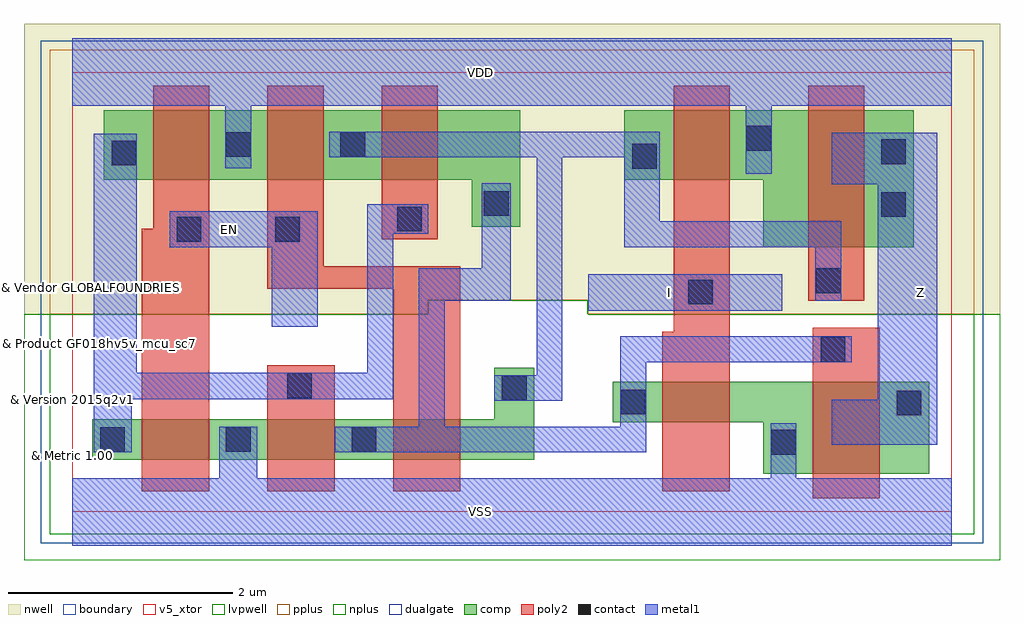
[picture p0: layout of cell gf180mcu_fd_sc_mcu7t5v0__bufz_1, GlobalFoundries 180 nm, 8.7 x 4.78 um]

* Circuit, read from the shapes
.subckt gf180mcu_fd_sc_mcu7t5v0__bufz_1 EN I VDD VSS Z
XM1 VSS EN n1 VSUBS nfet_05v0 w=0.36u l=0.6u
XM2 n2 n1 VSS VSUBS nfet_05v0 w=0.36u l=0.6u
XM3 n3 EN n2 VSUBS nfet_05v0 w=0.36u l=0.6u
XM4 VSS I n2 VSUBS nfet_05v0 w=0.36u l=0.6u
XM5 Z n2 VSS VSUBS nfet_05v0 w=0.82u l=0.6u
XM6 VDD EN n1 n4 pfet_05v0 w=0.62u l=0.5u
XM7 n3 EN VDD n4 pfet_05v0 w=0.62u l=0.5u
XM8 n2 n1 n3 n4 pfet_05v0 w=0.62u l=0.5u
XM9 VDD I n3 n4 pfet_05v0 w=0.62u l=0.5u
XM10 Z n3 VDD n4 pfet_05v0 w=1.22u l=0.5u
.ends

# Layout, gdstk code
import gdstk
lib = gdstk.Library(unit=1e-6, precision=1e-09)
def R(c, l, rs):  # rectangles x0, y0, x1, y1
    for r in rs: c.add(gdstk.rectangle(r[:2], r[2:], *l))
def A(c, l, x, y, w, h, nx, ny, dx, dy):  # array of equal rectangles
    R(c, l, [(x+i*dx, y+j*dy, x+i*dx+w, y+j*dy+h) for i in range(nx) for j in range(ny)])
def P(c, l, *ps):  # polygons
    for p in ps: c.add(gdstk.Polygon(p, *l))
boundary = (0, 0)
nwell = (21, 0)
comp = (22, 0)
poly2 = (30, 0)
pplus = (31, 0)
nplus = (32, 0)
contact = (33, 0)
metal1 = (34, 0)
dualgate = (55, 0)
v5_xtor = (112, 1)
lvpwell = (204, 0)

gf180mcu_fd_sc_mcu7t5v0_ = lib.new_cell('gf180mcu_fd_sc_mcu7t5v0__bufz_1')
R(gf180mcu_fd_sc_mcu7t5v0_, boundary, [(0,0,7.84,3.92)])
P(gf180mcu_fd_sc_mcu7t5v0_, nwell, [(-0.43,1.76),(-0.43,4.35),(8.27,4.35),(8.27,1.76),(4.595,1.76),(4.595,1.885),(3.175,1.885),(3.175,1.76)])
P(gf180mcu_fd_sc_mcu7t5v0_, comp, [(3.56,2.54),(3.56,2.96),(0.28,2.96),(0.28,3.58),(3.995,3.58),(3.995,2.54)],
  [(0.18,0.465),(0.18,0.825),(3.76,0.825),(3.76,1.285),(4.12,1.285),(4.12,0.465)],
  [(6.16,2.36),(6.16,2.96),(4.92,2.96),(4.92,3.58),(7.5,3.58),(7.5,2.36)],
  [(6.16,0.34),(6.16,0.8),(4.82,0.8),(4.82,1.16),(7.64,1.16),(7.64,0.34)])
R(gf180mcu_fd_sc_mcu7t5v0_, poly2, [(6.6,0.12,7.2,1.64), (1.74,0.185,2.34,1.305), (6.56,1.88,7.06,3.8), (2.76,2.43,3.26,3.8)])
P(gf180mcu_fd_sc_mcu7t5v0_, poly2, [(0.62,0.185),(0.62,2.525),(0.72,2.525),(0.72,3.8),(1.22,3.8),(1.22,0.185)],
  [(2.86,0.185),(2.86,1.99),(1.74,1.99),(1.74,3.8),(2.24,3.8),(2.24,2.19),(3.46,2.19),(3.46,0.185)],
  [(5.26,0.185),(5.26,1.605),(5.36,1.605),(5.36,3.8),(5.86,3.8),(5.86,0.185)])
P(gf180mcu_fd_sc_mcu7t5v0_, pplus, [(-0.2,1.76),(-0.2,4.12),(8.04,4.12),(8.04,1.76),(4.595,1.76),(4.595,1.885),(3.175,1.885),(3.175,1.76)])
P(gf180mcu_fd_sc_mcu7t5v0_, nplus, [(-0.2,-0.2),(-0.2,1.76),(3.175,1.76),(3.175,1.885),(4.595,1.885),(4.595,1.76),(8.04,1.76),(8.04,-0.2)])
A(gf180mcu_fd_sc_mcu7t5v0_, contact, 0.25, 0.535, 0.22, 0.22, 3, 1, 1.12, 0)
R(gf180mcu_fd_sc_mcu7t5v0_, contact, [(6.23,0.51,6.45,0.73), (7.35,0.86,7.57,1.08), (4.89,0.87,5.11,1.09), (3.83,0.995,4.05,1.215), (1.915,1.015,2.135,1.235), (6.67,1.34,6.89,1.56), (5.49,1.85,5.71,2.07), (6.63,1.95,6.85,2.17), (0.93,2.41,1.15,2.63), (1.81,2.41,2.03,2.63), (2.895,2.5,3.115,2.72), (7.21,2.63,7.43,2.85), (3.67,2.64,3.89,2.86), (4.99,3.06,5.21,3.28), (0.35,3.09,0.57,3.31), (7.21,3.1,7.43,3.32), (1.37,3.165,1.59,3.385), (2.39,3.165,2.61,3.385), (6.01,3.22,6.23,3.44)])
R(gf180mcu_fd_sc_mcu7t5v0_, metal1, [(4.6,1.795,6.33,2.12)])
P(gf180mcu_fd_sc_mcu7t5v0_, metal1, [(1.78,1.65),(1.78,2.36),(0.87,2.36),(0.87,2.68),(2.19,2.68),(2.19,1.65)],
  [(0.19,0.53),(0.19,3.37),(0.575,3.37),(0.575,1.24),(2.63,1.24),(2.63,2.74),(3.175,2.74),(3.175,2.48),(2.86,2.48),(2.86,1.005),(0.53,1.005),(0.53,0.53)],
  [(3.76,0.99),(3.76,1.22),(4.14,1.22),(4.14,3.16),(2.29,3.16),(2.29,3.39),(5.235,3.39),(5.235,2.59),(6.855,2.59),(6.855,1.88),(6.625,1.88),(6.625,2.36),(4.92,2.36),(4.92,3.16),(4.37,3.16),(4.37,0.99)],
  [(2.34,0.53),(2.34,0.76),(3.09,0.76),(3.09,2.17),(3.65,2.17),(3.65,2.93),(3.91,2.93),(3.91,1.88),(3.32,1.88),(3.32,0.76),(4.885,0.76),(4.885,1.565),(6.95,1.565),(6.95,1.335),(5.115,1.335),(5.115,0.53)],
  [(6.77,0.6),(6.77,1),(7.18,1),(7.18,2.92),(6.77,2.92),(6.77,3.38),(7.71,3.38),(7.71,0.6)],
  [(0,-0.3),(0,0.3),(1.31,0.3),(1.31,0.76),(1.65,0.76),(1.65,0.3),(6.225,0.3),(6.225,0.79),(6.455,0.79),(6.455,0.3),(7.84,0.3),(7.84,-0.3)],
  [(6.005,3.015),(6.005,3.62),(1.595,3.62),(1.595,3.065),(1.365,3.065),(1.365,3.62),(0,3.62),(0,4.22),(7.84,4.22),(7.84,3.62),(6.235,3.62),(6.235,3.015)])
R(gf180mcu_fd_sc_mcu7t5v0_, dualgate, [(-0.28,-0.28,8.12,4.2)])
R(gf180mcu_fd_sc_mcu7t5v0_, v5_xtor, [(0,0,7.84,3.92)])
P(gf180mcu_fd_sc_mcu7t5v0_, lvpwell, [(-0.43,-0.43),(-0.43,1.76),(3.175,1.76),(3.175,1.885),(4.595,1.885),(4.595,1.76),(8.27,1.76),(8.27,-0.43)])
gf180mcu_fd_sc_mcu7t5v0_.add(gdstk.Label('EN', (1.4,2.52), layer=34, texttype=10))
gf180mcu_fd_sc_mcu7t5v0_.add(gdstk.Label('VDD', (3.64,3.92), layer=34, texttype=10))
gf180mcu_fd_sc_mcu7t5v0_.add(gdstk.Label('VSS', (3.64,0), layer=34, texttype=10))
gf180mcu_fd_sc_mcu7t5v0_.add(gdstk.Label('Z', (7.56,1.96), layer=34, texttype=10))
gf180mcu_fd_sc_mcu7t5v0_.add(gdstk.Label('I', (5.32,1.96), layer=34, texttype=10))
gf180mcu_fd_sc_mcu7t5v0_.add(gdstk.Label('& Vendor GLOBALFOUNDRIES', (0,2), layer=63, texttype=63))
gf180mcu_fd_sc_mcu7t5v0_.add(gdstk.Label('& Product GF018hv5v_mcu_sc7', (0,1.5), layer=63, texttype=63))
gf180mcu_fd_sc_mcu7t5v0_.add(gdstk.Label('& Version 2015q2v1', (0,1), layer=63, texttype=63))
gf180mcu_fd_sc_mcu7t5v0_.add(gdstk.Label('& Metric 1.00', (0,0.5), layer=63, texttype=63))

lib.write_gds('gf180mcu_fd_sc_mcu7t5v0__bufz_1.gds')
